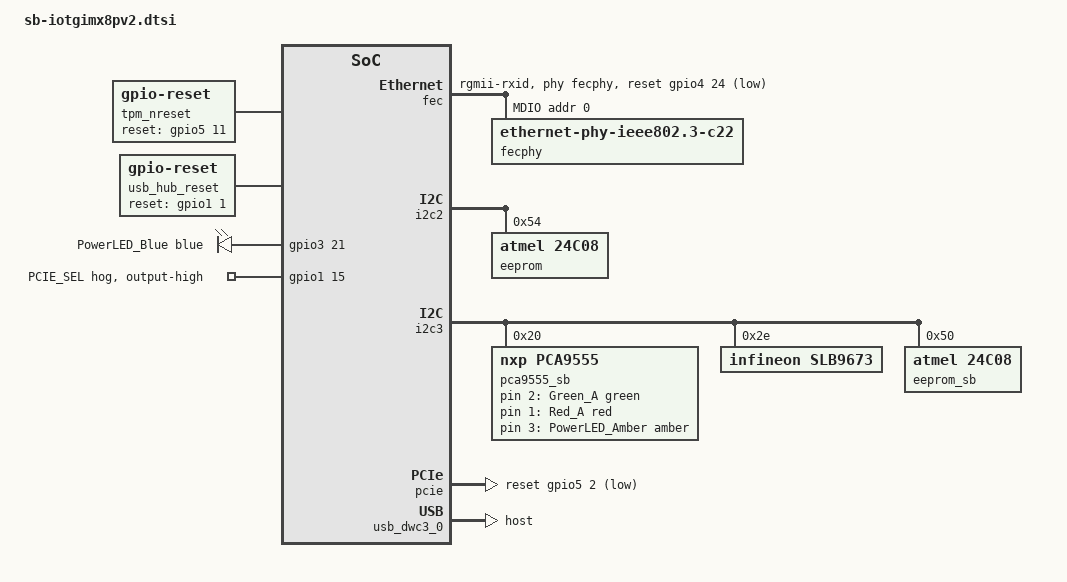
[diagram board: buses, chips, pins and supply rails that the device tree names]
/*
 * Copyright 2026 CompuLab Ltd
 */

#include <dt-bindings/leds/common.h>

#define LED_PATTERN_MORSE_OK		1 270 0 90 1 270 0 90 1 270 0 290 1 270 0 90 1 90 0 90 1 270 0 1260
#define LED_PATTERN_MORSE_SOS		1 90 0 90 1 90 0 90 1 90 0 270 1 270 0 90 1 270 0 90 1 270 0 270 1 90 0 90 1 90 0 90 1 90 0 1260

/ {
	aliases {
		rtc0 = &ab1805_rtc;
		rtc1 = &snvs_rtc;
	};

	chosen {
		stdout-path = &uart2; /* console */
	};

	/***** Reset *****/
	tpm_nreset: tpm-nreset {
		compatible = "gpio-reset";
		pinctrl-names = "default";
		pinctrl-0 = <&pinctrl_tpm_reset>;
		reset-gpios = <&gpio5 11 GPIO_ACTIVE_HIGH>;
		#reset-cells = <0>;
		reset-delay-us = <1000>;
		reset-post-delay-ms = <1>;
		initially-in-reset;
	};

	usb_hub_reset: usb-hub-reset {
		compatible = "gpio-reset";
		pinctrl-names = "default";
		pinctrl-0 = <&pinctrl_usb_hub_reset>;
		reset-gpios = <&gpio1 1 GPIO_ACTIVE_HIGH>;
		#reset-cells = <0>;
		initially-in-reset;
	};
	/***** Reset - End *****/

	/***** LEDs *****/
	user_leds: user-leds {
		compatible = "gpio-leds";
		pinctrl-names = "default";
		pinctrl-0 = <&pinctrl_user_leds>;

		user-led-a-green {
			label = "Green_A";
			color = <LED_COLOR_ID_GREEN>;
			gpios = <&pca9555_sb 2 GPIO_ACTIVE_HIGH>;
			default-state = "off";
		};
		user-led-a-red {
			label = "Red_A";
			color = <LED_COLOR_ID_RED>;
			gpios = <&pca9555_sb 1 GPIO_ACTIVE_HIGH>;
			default-state = "off";
		};

		power-led-abmer {
			label = "PowerLED_Amber";
			color = <LED_COLOR_ID_AMBER>;
			gpios = <&pca9555_sb 3 GPIO_ACTIVE_HIGH>;
			linux,default-trigger = "pattern";
		};
		power-led-blue {
			label = "PowerLED_Blue";
			color = <LED_COLOR_ID_BLUE>;
			gpios = <&gpio3 21 GPIO_ACTIVE_HIGH>;
			linux,default-trigger = "pattern";
			led-pattern = <LED_PATTERN_MORSE_OK>;
		};
	};
	/***** LEDs - End *****/
};

&cpu_alert0 {
	temperature = <100000>;
};

&cpu_crit0 {
	temperature = <105000>;
};

&soc_alert0 {
	temperature = <100000>;
};

&soc_crit0 {
	temperature = <105000>;
};

&gpio1 {
	status = "okay";

	gpio-line-names = "", "", "", "PMIC IRQ", "",
			"", "", "", "", "",
			"ECOS PHY Reset", "", "Heartbeat LED", "", "",
			"PCIe MUX Sel", "", "", "", "",
			"", "", "", "", "",
			"", "", "", "", "";

	pcie_mux_sel: pcie-mux-sel {
		pinctrl-names = "default";
		pinctrl-0 = <&pinctrl_pcie_mux_sel>;
		gpio-hog;
		gpios = <15 GPIO_ACTIVE_HIGH>;
		line-name = "PCIE_SEL";
		output-high;
		status = "okay";
	};
};

&fec {
	pinctrl-names = "default";
	pinctrl-0 = <&pinctrl_fec>, <&pinctrl_fec_phy_reset>;
	phy-mode = "rgmii-rxid";
	phy-handle = <&fecphy>;
	fsl,magic-packet;
	reset-gpios = <&gpio4 24 GPIO_ACTIVE_LOW>;
	reset-assert-us = <10000>;
	reset-deassert-us = <80000>;
	status = "okay";

	mdio {
		#address-cells = <1>;
		#size-cells = <0>;

		fecphy: fec-phy@0 {
			compatible = "ethernet-phy-ieee802.3-c22";
			reg = <0>;
			eee-broken-1000t;
			realtek,clkout-disable;
		};
	};
};

&i2c2 {
	eeprom@54 {
		compatible = "atmel,24c08";
		reg = <0x54>;
		pagesize = <16>;
	};
};

&i2c3 {
	status = "okay";

	pca9555_sb: pca9555-sb@20 {
		compatible = "nxp,pca9555";
		gpio-controller;
		#gpio-cells = <2>;
		reg = <0x20>;
		gpio-line-names =
			"USB_PWR_EN", "GPIO_LED_R", "GPIO_LED_G", "GPIO_LED_OR",
			"GPIO_OUT0", "GPIO_OUT1", "GPIO_OUT2", "GPIO_OUT3",
			"POE_ASSEM_IND", "POE_PRESENCE", "MODEM_RF_KILLn", "MODEM_RSTn",
			"CSI1_CTRL", "CSI1_RST", "CSI1_PWR_DWN", "EN_5V_ISO1";
	};

	slb9673: slb9673-i2c3@2e {
		resets = <&tpm_nreset>;
		reset-names = "TPM_RSTn";
		compatible = "infineon,slb9673";
		reg = <0x2e>;
	};

	eeprom_sb: eeprom-sb@50 {
		compatible = "atmel,24c08";
		reg = <0x50>;
		pagesize = <16>;
	};
};

&pcie {
	pinctrl-names = "default";
	pinctrl-0 = <&pinctrl_pcie>;
	reset-gpio = <&gpio5 2 GPIO_ACTIVE_LOW>;
	status = "okay";
};

&usb_dwc3_0 {
	dr_mode = "host";
	status = "okay";
};

&usb_dwc3_1 {
	pinctrl-names = "default";
};

&iomuxc {
	pinctrl_fec: fecgrp {
		fsl,pins = <
			MX8MP_IOMUXC_SD1_CLK__ENET1_MDC				0x2
			MX8MP_IOMUXC_SD1_CMD__ENET1_MDIO			0x2
			MX8MP_IOMUXC_SD1_DATA2__ENET1_RGMII_RD0			0x90
			MX8MP_IOMUXC_SD1_DATA3__ENET1_RGMII_RD1			0x90
			MX8MP_IOMUXC_SAI1_RXD6__ENET1_RGMII_RD2			0x90
			MX8MP_IOMUXC_SAI1_RXD7__ENET1_RGMII_RD3			0x90
			MX8MP_IOMUXC_SAI1_TXC__ENET1_RGMII_RXC			0x00
			MX8MP_IOMUXC_SAI1_TXFS__ENET1_RGMII_RX_CTL		0x90
			MX8MP_IOMUXC_SD1_DATA1__ENET1_RGMII_TD0			0x14
			MX8MP_IOMUXC_SD1_DATA0__ENET1_RGMII_TD1			0x14
			MX8MP_IOMUXC_SAI1_TXD2__ENET1_RGMII_TD2			0x14
			MX8MP_IOMUXC_SAI1_TXD3__ENET1_RGMII_TD3			0x14
			MX8MP_IOMUXC_SAI1_TXD4__ENET1_RGMII_TX_CTL		0x14
			MX8MP_IOMUXC_SAI1_TXD5__ENET1_RGMII_TXC			0x00
		>;
	};

	pinctrl_fec_phy_reset: fecphyrstgrp {
		fsl,pins = <
			MX8MP_IOMUXC_SAI2_TXFS__GPIO4_IO24			0x10
		>;
	};

	pinctrl_pcie: pciegrp {
		fsl,pins = <
			MX8MP_IOMUXC_SAI3_MCLK__GPIO5_IO02			0x140
		>;
	};

	pinctrl_pcie_mux_sel: pciemuxselgrp {
		fsl,pins = <
			MX8MP_IOMUXC_GPIO1_IO15__GPIO1_IO15			0x100
		>;
	};

	pinctrl_uart2: uart2grp {
		fsl,pins = <
			MX8MP_IOMUXC_SAI3_TXFS__UART2_DCE_RX			0x140
			MX8MP_IOMUXC_SAI3_TXC__UART2_DCE_TX			0x140
		>;
	};

	pinctrl_usb_hub_reset: usbhubrst {
		fsl,pins = <
			MX8MP_IOMUXC_GPIO1_IO01__GPIO1_IO01			0x100
		>;
	};

	pinctrl_user_leds: userledsgrp {
		fsl,pins = <
			MX8MP_IOMUXC_SAI5_RXD0__GPIO3_IO21			0x110
		>;
	};

	pinctrl_tpm_reset: tpmrstgrp {
		fsl,pins = <
			MX8MP_IOMUXC_ECSPI2_MOSI__GPIO5_IO11			0x110
		>;
	};
};
